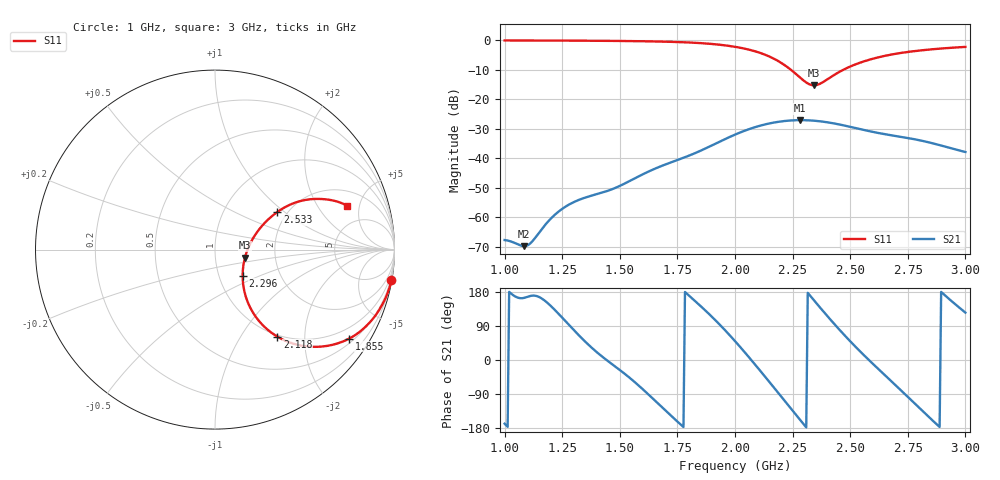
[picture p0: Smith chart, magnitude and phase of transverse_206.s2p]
! TOUCHSTONE file generated by CST MICROWAVE STUDIO
! Date and time: Tue Mar 11 13:57:45 2025
! Project name: transverse.cst
! Parameters = {Fracture=5; B=12.5; D=160; F=25; Feed=2.85625; L=100; M=10; R=0.384908; S=1; Theta=180; length=57.125; wave=114.25}
! Header version: 2024
! Port assignment regex: !\s*Touchstone port\s*([0-9]+)\s*=\s*(CST MWS port|CST DES external port|CST DES block port)\s*(.+)\s* \(\"(.*)\"\)(\s*mode\s*([0-9]+))?.*
! Touchstone port assignment:
! Touchstone port 1 = CST MWS port 1 ("")
! Touchstone port 2 = CST MWS port 2 ("")
# GHz S MA R 50
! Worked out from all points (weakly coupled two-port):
!   305 points, 1 GHz to 3 GHz, reference 50 ohm
!   highest |S21| = -27.07 dB at 2.283 GHz (marker M1); lowest = -69.8 dB at 1.086 GHz (marker M2)
!   lowest |S11| = -15.2 dB at 2.342 GHz (marker M3), VSWR 1.42, Z = 69.6 - j6.56 ohm
!   |S11| at or under -10 dB: 2.243 GHz to 2.469 GHz (226.4 MHz wide, 9.61 % of centre)
!   S12 and S22 are empty: the file has one direction only
!   S11 on the Smith chart (normalised r, x): 1 GHz: 0, -12; 1.855 GHz: 0.63, -3.20; 2.118 GHz: 0.98, -1.46; 2.296 GHz: 1.30, -0.39; 2.533 GHz: 1.78, +0.89; 3 GHz: 3.07, +3.76
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1  0.9976 -9.8  0.0004091 -168.0  0 0.0  0 0.0
1.08553  0.9967 -11.0  0.0003221 164.1  0 0.0  0 0.0
1.11842  0.9961 -11.5  0.0003818 169.7  0 0.0  0 0.0
1.18421  0.9945 -12.5  0.0008061 151.7  0 0.0  0 0.0
1.23026  0.9931 -13.3  0.001208 124.4  0 0.0  0 0.0
1.33553  0.9892 -15.3  0.002056 57.0  0 0.0  0 0.0
1.47368  0.9803 -18.4  0.003059 -14.3  0 0.0  0 0.0
1.67105  0.9564 -24.5  0.007132 -117.7  0 0.0  0 0.0
1.85526  0.8968 -33.6  0.01368 139.8  0 0.0  0 0.0
2  0.7783 -44.1  0.02518 49.9  0 0.0  0 0.0
2.11842  0.5956 -54.4  0.03651 -35.0  0 0.0  0 0.0
2.20395  0.4075 -58.9  0.04235 -99.1  0 0.0  0 0.0
2.28289  0.2331 -48.3  0.04432 -158.3  0 0.0  0 0.0
2.29605  0.211 -43.2  0.04429 -168.1  0 0.0  0 0.0
2.33553  0.1738 -19.8  0.0436 162.8  0 0.0  0 0.0
2.34211  0.1729 -15.3  0.0434 158.0  0 0.0  0 0.0
2.375  0.1889 5.0  0.0421 134.2  0 0.0  0 0.0
2.43421  0.2648 24.0  0.0387 92.8  0 0.0  0 0.0
2.53289  0.4053 31.1  0.03188 28.9  0 0.0  0 0.0
2.67105  0.5678 29.0  0.02481 -51.7  0 0.0  0 0.0
2.82237  0.6867 24.0  0.01937 -139.4  0 0.0  0 0.0
3  0.7748 18.4  0.01276 125.1  0 0.0  0 0.0
